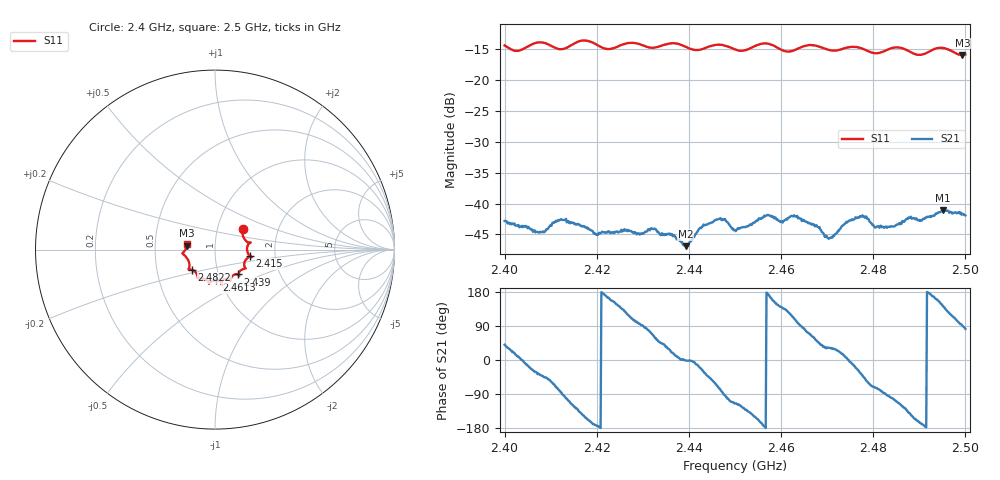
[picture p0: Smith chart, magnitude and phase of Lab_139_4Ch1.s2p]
# Hz S RI R 50
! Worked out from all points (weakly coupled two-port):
!   601 points, 2.4 GHz to 2.5 GHz, reference 50 ohm
!   highest |S21| = -41.06 dB at 2.4952 GHz (marker M1); lowest = -46.9 dB at 2.4393 GHz (marker M2)
!   lowest |S11| = -15.9 dB at 2.4993 GHz (marker M3), VSWR 1.38, Z = 36.3 + j1.62 ohm
!   |S11| at or under -10 dB: start of sweep to end of sweep
!   S12 and S22 are empty: the file has one direction only
!   S11 on the Smith chart (normalised r, x): 2.4 GHz: 1.33, +0.31; 2.415 GHz: 1.48, -0.11; 2.439 GHz: 1.24, -0.36; 2.4613 GHz: 0.96, -0.34; 2.4822 GHz: 0.75, -0.17; 2.5 GHz: 0.73, +0.05
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2.4e9  0.155 0.1121  0.00551 0.00467  0 0  0 0
2.407167e9  0.1986 0.0387  0.00467 -0.00358  0 0  0 0
2.412e9  0.1785 0.00575  0.0011 -0.00728  0 0  0 0
2.415e9  0.1939 -0.0355  -0.00365 -0.00593  0 0  0 0
2.416667e9  0.2048 -0.0429  -0.00513 -0.00412  0 0  0 0
2.419833e9  0.191 -0.0415  -0.00555 -0.000759  0 0  0 0
2.433333e9  0.1321 -0.1321  0.00386 0.00446  0 0  0 0
2.439e9  0.1282 -0.1384  0.00462 -2.36e-05  0 0  0 0
2.439333e9  0.1256 -0.1374  0.00451 -0.000114  0 0  0 0
2.446333e9  0.0859 -0.174  0.00238 -0.00709  0 0  0 0
2.45e9  0.0686 -0.1639  -0.00254 -0.00552  0 0  0 0
2.456833e9  0.0391 -0.1946  -0.00798 0.000288  0 0  0 0
2.461333e9  0.00761 -0.1705  -0.00464 0.00578  0 0  0 0
2.466667e9  -0.0333 -0.1898  0.00306 0.006  0 0  0 0
2.4705e9  -0.0475 -0.1691  0.00446 0.00279  0 0  0 0
2.477333e9  -0.0956 -0.1549  0.00634 -0.00459  0 0  0 0
2.482167e9  -0.1285 -0.1121  0.000395 -0.00645  0 0  0 0
2.483333e9  -0.1398 -0.1105  -0.000486 -0.00646  0 0  0 0
2.49e9  -0.1473 -0.0634  -0.00706 -0.00207  0 0  0 0
2.495167e9  -0.1813 -0.02  -0.00698 0.00544  0 0  0 0
2.499333e9  -0.1584 0.0217  -7.4e-05 0.00826  0 0  0 0
2.5e9  -0.1579 0.0339  0.00109 0.00793  0 0  0 0
